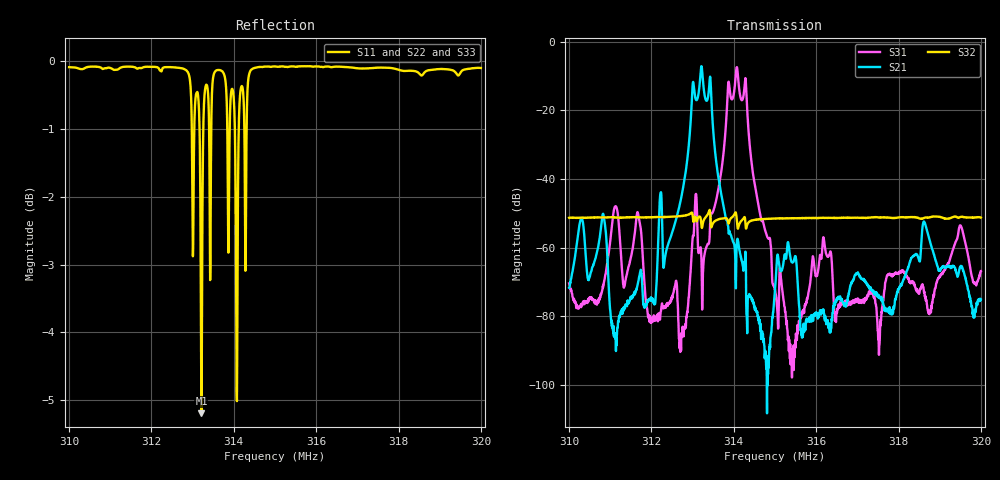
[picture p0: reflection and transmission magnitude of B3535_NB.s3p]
! Matrix data file written by TouchstoneData, EPCOS AG
! FILENAME: "newformat_LZ07A_NB.s3p"
! COMMENT: "(LZ07A_NB.s3p) Epcos AG 31.01.2012 10:33:43"
! INFO: nport=3, nfreq=1601
! DATE: "Tue Jan 31 14:34:30 2012"
! USER: "Wilfried Schott"
! port | pin | signal
!  1  |  1  |  IN
!  2  |  5  |  OUT CH2
!  3  |  7  |  OUT CH3
# MHZ S MA R 50
! freq  magS11 angS11  magS12 angS12  magS13 angS13  ...
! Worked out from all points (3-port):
!   1601 points, 310 MHz to 320 MHz, reference 50 ohm
!   strongest paths, dB at 310 MHz, 312.5 MHz, 315 MHz, 317.5 MHz, 320 MHz:
!     S32: -51.3, -51.0, -51.5, -51.2, -51.2
!     S21: -71.7, -55.7, -72.5, -74.2, -75.1
!     S31: -70.4, -74.2, -72.1, -84.1, -66.8
!   lowest |S11| = -5.2 dB at 313.21 MHz (marker M1), VSWR 3.44, Z = 96.5 - j78.8 ohm
!   |S11| at or under -10 dB: nowhere
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310  0.9899 -28.8  0.0002699 174.7  0.0002902 -69.0
     0.0002593 174.1  0.9922 -16.5  0.002738 72.3
     0.0003011 -65.6  0.002725 72.4  0.9907 -17.1
310.8313  0.9872 -29.1  0.003056 -53.6  0.0002865 -178.8
          0.003063 -53.2  0.9896 -16.5  0.002761 72.2
          0.0002892 -179.3  0.002749 72.3  0.9913 -17.4
311.1313  0.9856 -29.1  3.579e-05 39.0  0.004007 75.0
          4.789e-05 48.9  0.9931 -16.7  0.002744 71.5
          0.004018 75.2  0.002742 71.7  0.9869 -17.3
312.0562  0.9905 -30.1  0.0001534 92.4  8.643e-05 81.8
          0.0001597 94.2  0.9928 -17.4  0.002775 71.8
          0.0001033 82.4  0.002767 71.7  0.9914 -17.6
313.2125  0.55 -31.2  0.4408 159.8  0.0006829 -17.9
          0.4395 159.8  0.5372 -18.9  0.00212 54.7
          0.000687 -17.6  0.002135 54.8  0.9907 -18.6
314.075  0.5616 -23.5  0.00126 -68.2  0.4261 153.9
         0.001275 -69.8  0.9923 -14.5  0.002385 45.0
         0.4258 154.0  0.002396 46.2  0.5534 -13.7
315  0.9912 -26.2  0.0002384 38.6  0.0002432 -121.7
     0.0002382 38.6  0.9925 -15.5  0.002652 74.0
     0.0002476 -119.7  0.002651 74.2  0.9916 -15.5
317.8188  0.9886 -28.2  0.0001152 -116.5  0.0003927 86.5
          0.0001079 -115.8  0.9899 -16.0  0.002712 71.9
          0.0004097 86.8  0.002709 72.3  0.9895 -16.9
318.6313  0.9814 -27.8  0.002337 123.9  0.0002075 164.8
          0.002336 124.2  0.9842 -15.8  0.002732 74.2
          0.0002213 165.5  0.002728 74.4  0.9882 -16.9
320  0.9886 -28.1  0.0001599 104.9  0.0004624 98.0
     0.0001748 100.2  0.9904 -16.1  0.002759 72.1
     0.000456 96.8  0.002743 72.5  0.9893 -16.9
